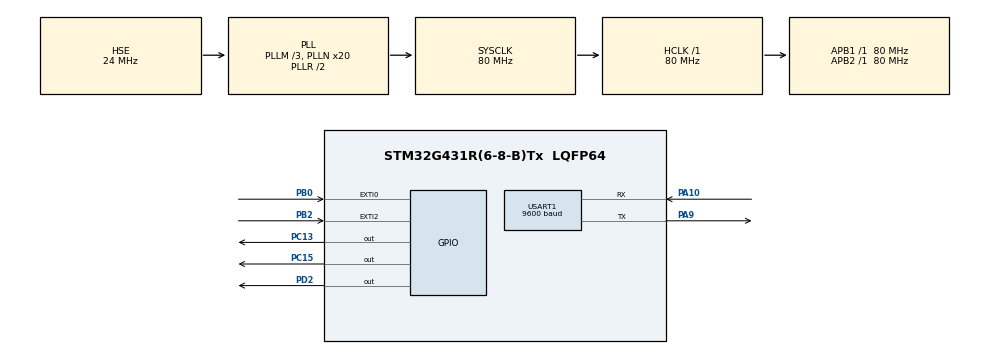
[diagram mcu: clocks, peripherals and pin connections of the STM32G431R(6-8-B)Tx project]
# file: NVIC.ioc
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Mcu.Family=STM32G4
Mcu.Name=STM32G431R(6-8-B)Tx
Mcu.Package=LQFP64
NVIC.EXTI0_IRQn=true\:0\:0\:false\:false\:true\:true\:true
NVIC.EXTI2_IRQn=true\:0\:0\:false\:false\:true\:true\:true
NVIC.PriorityGroup=NVIC_PRIORITYGROUP_4
NVIC.TIM2_IRQn=true\:0\:0\:false\:false\:true\:true\:true
NVIC.TIM3_IRQn=true\:0\:0\:false\:false\:true\:true\:true
NVIC.USART1_IRQn=true\:0\:0\:false\:false\:true\:true\:true
PA10.Mode=Asynchronous
PA10.Signal=USART1_RX
PA13.Mode=Serial_Wire
PA13.Signal=SYS_JTMS-SWDIO
PA14.Mode=Serial_Wire
PA14.Signal=SYS_JTCK-SWCLK
PA9.Mode=Asynchronous
PA9.Signal=USART1_TX
PB0.GPIO_PuPd=GPIO_NOPULL
PB0.Signal=GPXTI0
PB2.GPIO_ModeDefaultEXTI=GPIO_MODE_IT_FALLING
PB2.GPIO_PuPd=GPIO_NOPULL
PB2.Signal=GPXTI2
PC13.PinState=GPIO_PIN_SET
PC13.Signal=GPIO_Output
PC15-OSC32_OUT.PinState=GPIO_PIN_SET
PC15-OSC32_OUT.Signal=GPIO_Output
PD2.Signal=GPIO_Output
PF0-OSC_IN.Mode=HSE-External-Oscillator
PF0-OSC_IN.Signal=RCC_OSC_IN
PF1-OSC_OUT.Mode=HSE-External-Oscillator
PF1-OSC_OUT.Signal=RCC_OSC_OUT
ProjectManager.HeapSize=0x200
ProjectManager.StackSize=0x400
ProjectManager.TargetToolchain=MDK-ARM V5
RCC.ADC12Freq_Value=80000000
RCC.AHBFreq_Value=80000000
RCC.APB1Freq_Value=80000000
RCC.APB1TimFreq_Value=80000000
RCC.APB2Freq_Value=80000000
RCC.APB2TimFreq_Value=80000000
RCC.CortexFreq_Value=80000000
RCC.EXTERNAL_CLOCK_VALUE=12288000
RCC.HCLKFreq_Value=80000000
RCC.HSE_VALUE=24000000
RCC.HSI48_VALUE=48000000
RCC.HSI_VALUE=16000000
RCC.LSE_VALUE=32768
RCC.PLLM=RCC_PLLM_DIV3
RCC.PLLN=20
RCC.PLLSourceVirtual=RCC_PLLSOURCE_HSE
RCC.SYSCLKFreq_VALUE=80000000
RCC.SYSCLKSource=RCC_SYSCLKSOURCE_PLLCLK
RCC.USBFreq_Value=80000000
RCC.VCOOutputFreq_Value=160000000
TIM2.PeriodNoDither=2000-1
TIM2.Prescaler=8000-1
TIM3.PeriodNoDither=2000-1
TIM3.Prescaler=40000-1
USART1.BaudRate=9600
USART1.VirtualMode-Asynchronous=VM_ASYNC
USART1.WordLength=WORDLENGTH_8B
VP_SYS_VS_DBSignals.Mode=DisableDeadBatterySignals
VP_TIM2_VS_ClockSourceINT.Mode=Internal
VP_TIM3_VS_ClockSourceINT.Mode=Internal
board=custom

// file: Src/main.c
/* USER CODE BEGIN Header */
/**
  ******************************************************************************
  * @file           : main.c
  * @brief          : Main program body
  ******************************************************************************
  * @attention
  *
  * <h2><center>&copy; Copyright (c) 2024 STMicroelectronics.
  * All rights reserved.</center></h2>
  *
  * This software component is licensed by ST under BSD 3-Clause license,
  * the "License"; You may not use this file except in compliance with the
  * License. You may obtain a copy of the License at:
  *                        opensource.org/licenses/BSD-3-Clause
  *
  ******************************************************************************
  */
/* USER CODE END Header */

#include "main.h"
#include "tim.h"
#include "usart.h"
#include "gpio.h"

/* USER CODE BEGIN Includes */
#include "stdio.h"
#include "string.h"
/* USER CODE END Includes */

void SystemClock_Config(void);

/* USER CODE BEGIN 0 */
void HAL_GPIO_EXTI_Callback(uint16_t GPIO_Pin){
   if(GPIO_Pin == GPIO_PIN_0)
             {

		HAL_GPIO_TogglePin(GPIOC,GPIO_PIN_15);
		HAL_GPIO_WritePin(GPIOD,GPIO_PIN_2,GPIO_PIN_SET);
		HAL_GPIO_WritePin(GPIOD,GPIO_PIN_2,GPIO_PIN_RESET);
	}

}

//void HAL_TIM_PeriodElapsedCallback(TIM_HandleTypeDef *htim)
//{
//	if(htim->Instance==TIM2)
//	{
//		HAL_GPIO_TogglePin(GPIOC,GPIO_PIN_15);
//		HAL_GPIO_WritePin(GPIOD,GPIO_PIN_2,GPIO_PIN_SET);
//	HAL_GPIO_WritePin(GPIOD,GPIO_PIN_2,GPIO_PIN_RESET);
//	}

//	if(htim->Instance==TIM3)
//	{
//		HAL_GPIO_TogglePin(GPIOC,GPIO_PIN_13);
//		HAL_GPIO_WritePin(GPIOD,GPIO_PIN_2,GPIO_PIN_SET);
//	HAL_GPIO_WritePin(GPIOD,GPIO_PIN_2,GPIO_PIN_RESET);
//	}
//}
uint8_t Rx_dat=0;
char tep[30];
void HAL_UART_RxCpltCallback(UART_HandleTypeDef *huart)
{
	if(huart->Instance==USART1)
	{
		if(Rx_dat==0xa1)
		{
			HAL_GPIO_WritePin(GPIOC,GPIO_PIN_15,GPIO_PIN_RESET);
			sprintf(tep,"LED1 OPEN\r\n");
			HAL_GPIO_WritePin(GPIOC,GPIO_PIN_13,GPIO_PIN_RESET);

			HAL_UART_Transmit(&huart1,(uint8_t *)tep,strlen(tep),10000);
			HAL_GPIO_WritePin(GPIOC,GPIO_PIN_13,GPIO_PIN_SET);
			HAL_GPIO_WritePin(GPIOD,GPIO_PIN_2,GPIO_PIN_SET);
			HAL_GPIO_WritePin(GPIOD,GPIO_PIN_2,GPIO_PIN_RESET);
			HAL_UART_Receive_IT(&huart1,&Rx_dat,1);
		}
		else if(Rx_dat==0xa2)
		{
			HAL_GPIO_WritePin(GPIOC,GPIO_PIN_13,GPIO_PIN_RESET);
			sprintf(tep,"LED1 CLOSE\r\n");
			HAL_GPIO_WritePin(GPIOC,GPIO_PIN_15,GPIO_PIN_RESET);

			HAL_UART_Transmit(&huart1,(uint8_t *)tep,strlen(tep),10000);
			HAL_GPIO_WritePin(GPIOC,GPIO_PIN_15,GPIO_PIN_SET);
			HAL_GPIO_WritePin(GPIOD,GPIO_PIN_2,GPIO_PIN_SET);
			HAL_GPIO_WritePin(GPIOD,GPIO_PIN_2,GPIO_PIN_RESET);
			HAL_UART_Receive_IT(&huart1,&Rx_dat,1);
		}

	}

}
/* USER CODE END 0 */

int main(void)
{

  /* MCU Configuration--------------------------------------------------------*/

  /* Reset of all peripherals, Initializes the Flash interface and the Systick. */
  HAL_Init();

  /* Configure the system clock */
  SystemClock_Config();

  /* Initialize all configured peripherals */
  MX_GPIO_Init();
  MX_TIM2_Init();
  MX_TIM3_Init();
  MX_USART1_UART_Init();
  /* USER CODE BEGIN 2 */
	HAL_TIM_Base_Start_IT(&htim2);
	HAL_TIM_Base_Start_IT(&htim3);
  HAL_GPIO_WritePin(GPIOC,GPIO_PIN_15,GPIO_PIN_SET);
	HAL_GPIO_WritePin(GPIOC,GPIO_PIN_13,GPIO_PIN_SET);
	HAL_GPIO_WritePin(GPIOD,GPIO_PIN_2,GPIO_PIN_SET);
	HAL_GPIO_WritePin(GPIOD,GPIO_PIN_2,GPIO_PIN_RESET);

	sprintf(tep,"hello world !!\r\n");
	HAL_GPIO_WritePin(GPIOC,GPIO_PIN_15,GPIO_PIN_SET);
	HAL_UART_Transmit(&huart1,(uint8_t *)tep,strlen(tep),10000);
	HAL_GPIO_WritePin(GPIOC,GPIO_PIN_15,GPIO_PIN_RESET);

  /* USER CODE END 2 */

  /* Infinite loop */
  while (1)
  {
HAL_UART_Receive_IT(&huart1,&Rx_dat,1);
  }
}

void SystemClock_Config(void)
{
  RCC_OscInitTypeDef RCC_OscInitStruct = {0};
  RCC_ClkInitTypeDef RCC_ClkInitStruct = {0};
  RCC_PeriphCLKInitTypeDef PeriphClkInit = {0};

  /** Configure the main internal regulator output voltage
  */
  HAL_PWREx_ControlVoltageScaling(PWR_REGULATOR_VOLTAGE_SCALE1);
  /** Initializes the CPU, AHB and APB busses clocks
  */
  RCC_OscInitStruct.OscillatorType = RCC_OSCILLATORTYPE_HSE;
  RCC_OscInitStruct.HSEState = RCC_HSE_ON;
  RCC_OscInitStruct.PLL.PLLState = RCC_PLL_ON;
  RCC_OscInitStruct.PLL.PLLSource = RCC_PLLSOURCE_HSE;
  RCC_OscInitStruct.PLL.PLLM = RCC_PLLM_DIV3;
  RCC_OscInitStruct.PLL.PLLN = 20;
  RCC_OscInitStruct.PLL.PLLP = RCC_PLLP_DIV2;
  RCC_OscInitStruct.PLL.PLLQ = RCC_PLLQ_DIV2;
  RCC_OscInitStruct.PLL.PLLR = RCC_PLLR_DIV2;
  if (HAL_RCC_OscConfig(&RCC_OscInitStruct) != HAL_OK)
  {
    Error_Handler();
  }
  /** Initializes the CPU, AHB and APB busses clocks
  */
  RCC_ClkInitStruct.ClockType = RCC_CLOCKTYPE_HCLK|RCC_CLOCKTYPE_SYSCLK
                              |RCC_CLOCKTYPE_PCLK1|RCC_CLOCKTYPE_PCLK2;
  RCC_ClkInitStruct.SYSCLKSource = RCC_SYSCLKSOURCE_PLLCLK;
  RCC_ClkInitStruct.AHBCLKDivider = RCC_SYSCLK_DIV1;
  RCC_ClkInitStruct.APB1CLKDivider = RCC_HCLK_DIV1;
  RCC_ClkInitStruct.APB2CLKDivider = RCC_HCLK_DIV1;

  if (HAL_RCC_ClockConfig(&RCC_ClkInitStruct, FLASH_LATENCY_3) != HAL_OK)
  {
    Error_Handler();
  }
  /** Initializes the peripherals clocks
  */
  PeriphClkInit.PeriphClockSelection = RCC_PERIPHCLK_USART1;
  PeriphClkInit.Usart1ClockSelection = RCC_USART1CLKSOURCE_PCLK2;
  if (HAL_RCCEx_PeriphCLKConfig(&PeriphClkInit) != HAL_OK)
  {
    Error_Handler();
  }
}

void Error_Handler(void)
{
}

/************************ (C) COPYRIGHT STMicroelectronics *****END OF FILE****/
